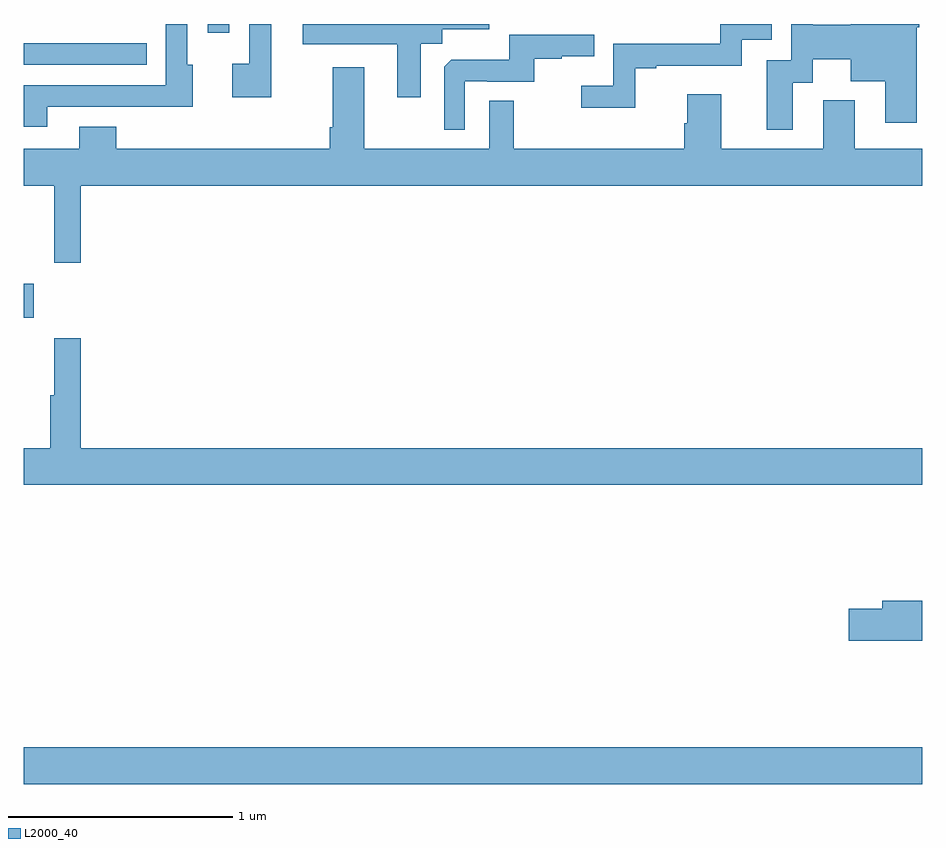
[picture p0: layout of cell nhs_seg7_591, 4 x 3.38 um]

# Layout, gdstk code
import gdstk
lib = gdstk.Library(unit=1e-6, precision=1e-09)
def R(c, l, rs):  # rectangles x0, y0, x1, y1
    for r in rs: c.add(gdstk.rectangle(r[:2], r[2:], *l))
def P(c, l, *ps):  # polygons
    for p in ps: c.add(gdstk.Polygon(p, *l))
L2000_40 = (2000, 40)

nhs_seg7_591 = lib.new_cell('nhs_seg7_591')
R(nhs_seg7_591, L2000_40, [(157,1000.616,161,1000.78), (157,1002.692,157.045,1002.844), (157,1003.818,157.547,1003.914), (157.818,1003.962,157.914,1004)])
P(nhs_seg7_591, L2000_40, [(158.101,1004),(158.004,1004),(158.004,1003.822),(157.929,1003.822),(157.929,1003.674),(158.101,1003.674)],
  [(157.105,1003.632),(157.535,1003.632),(157.535,1003.631),(157.753,1003.631),(157.753,1003.818),(157.728,1003.818),(157.728,1004),(157.632,1004),(157.632,1003.728),(157,1003.728),(157,1003.542),(157.105,1003.542)],
  [(159.723,1003.803),(159.817,1003.803),(159.817,1003.815),(160.197,1003.815),(160.197,1003.929),(160.331,1003.929),(160.331,1004),(160.101,1004),(160.101,1003.911),(159.624,1003.911),(159.624,1003.726),(159.483,1003.726),(159.483,1003.628),(159.723,1003.628)],
  [(158.767,1003.912),(158.862,1003.912),(158.862,1003.976),(159.073,1003.976),(159.073,1004),(158.243,1004),(158.243,1003.91),(158.663,1003.91),(158.663,1003.674),(158.767,1003.674)],
  [(160.423,1003.738),(160.513,1003.738),(160.513,1003.844),(160.682,1003.844),(160.682,1003.745),(160.835,1003.745),(160.835,1003.56),(160.975,1003.56),(160.975,1003.985),(160.988,1003.985),(160.988,1004),(160.682,1004),(160.682,1003.996),(160.512,1003.996),(160.512,1004),(160.416,1004),(160.416,1003.839),(160.307,1003.839),(160.307,1003.53),(160.423,1003.53)],
  [(158.964,1003.746),(159.064,1003.746),(159.064,1003.743),(159.272,1003.743),(159.272,1003.845),(159.395,1003.845),(159.395,1003.856),(159.539,1003.856),(159.539,1003.953),(159.162,1003.953),(159.162,1003.841),(158.903,1003.841),(158.871,1003.809),(158.871,1003.529),(158.964,1003.529)],
  [(157.253,1003.28),(161,1003.28),(161,1003.444),(160.699,1003.444),(160.699,1003.66),(160.559,1003.66),(160.559,1003.444),(160.105,1003.444),(160.105,1003.687),(159.953,1003.687),(159.953,1003.557),(159.941,1003.557),(159.941,1003.444),(159.181,1003.444),(159.181,1003.658),(159.072,1003.658),(159.072,1003.444),(158.515,1003.444),(158.515,1003.807),(158.375,1003.807),(158.375,1003.54),(158.363,1003.54),(158.363,1003.444),(157.411,1003.444),(157.411,1003.543),(157.247,1003.543),(157.247,1003.444),(157,1003.444),(157,1003.28),(157.136,1003.28),(157.136,1002.936),(157.253,1002.936)],
  [(161,1002.112),(157.253,1002.112),(157.253,1002.601),(157.136,1002.601),(157.136,1002.348),(157.117,1002.348),(157.117,1002.112),(157,1002.112),(157,1001.948),(161,1001.948)],
  [(161,1001.432),(160.823,1001.432),(160.823,1001.396),(160.674,1001.396),(160.674,1001.254),(161,1001.254)])

lib.write_gds('nhs_seg7_591.gds')
